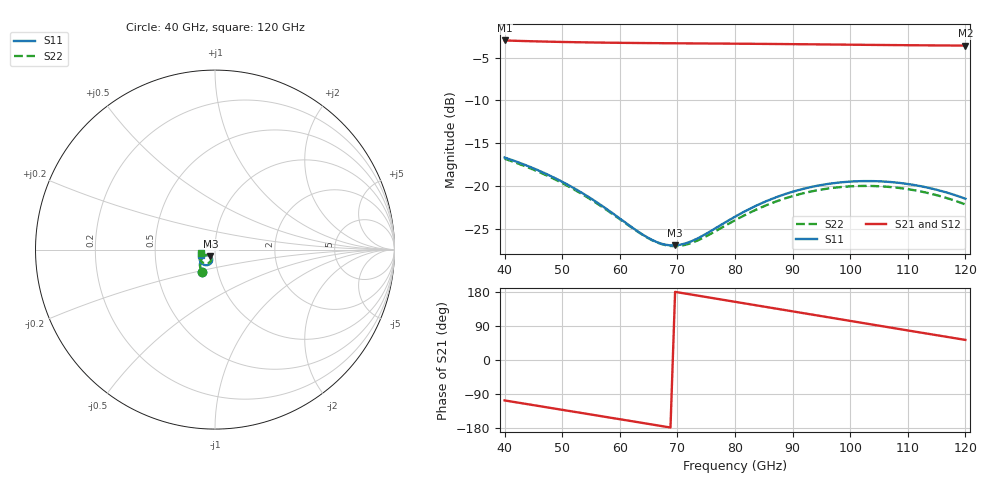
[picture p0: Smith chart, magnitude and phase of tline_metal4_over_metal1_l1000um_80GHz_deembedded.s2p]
! Created with skrf 2.0.1 (http://scikit-rf.org).
# GHz S DB R 50.0
!freq dBS11 angS11 dBS21 angS21 dBS12 angS12 dBS22 angS22
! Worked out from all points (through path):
!   101 points, 40 GHz to 120 GHz, reference 50 ohm
!   highest |S21| = -3.00 dB at 40 GHz (marker M1); lowest = -3.6 dB at 120 GHz (marker M2)
!   group delay of S21, straight-line fit = 6.97 ps
!   lowest |S11| = -27.0 dB at 69.6 GHz (marker M3), VSWR 1.09, Z = 47.4 - j3.53 ohm
!   |S11| at or under -10 dB: start of sweep to end of sweep
!   |S22| runs from -27.1 to -16.8 dB; largest |S21 - S12| = 3.7e-16
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40  -16.69 -119.4  -3.00 -106.6  -3.00 -106.6  -16.83 -120.2
46.4  -18.36 -133.7  -3.12 -122.6  -3.12 -122.6  -18.51 -134.7
53.6  -20.89 -145.4  -3.22 -140.4  -3.22 -140.4  -21.03 -146.8
57.6  -22.66 -148.3  -3.26 -150.3  -3.26 -150.3  -22.77 -150.1
60.8  -24.21 -147.5  -3.28 -158.3  -3.28 -158.3  -24.28 -149.7
64.8  -26.04 -140.5  -3.31 -168.2  -3.31 -168.2  -26.07 -143.6
67.2  -26.76 -133.0  -3.32 -174.2  -3.32 -174.2  -26.80 -136.8
69.6  -26.96 -124.1  -3.33 179.8  -3.33 179.8  -27.06 -128.7
71.2  -26.77 -118.4  -3.34 175.8  -3.34 175.8  -26.93 -123.3
73.6  -26.12 -111.4  -3.35 169.7  -3.35 169.7  -26.36 -116.7
76.8  -24.88 -106.0  -3.36 161.7  -3.36 161.7  -25.23 -111.4
80  -23.61 -104.5  -3.38 153.6  -3.38 153.6  -24.03 -109.9
83.2  -22.48 -105.7  -3.39 145.5  -3.39 145.5  -22.93 -111.1
87.2  -21.32 -109.6  -3.42 135.4  -3.42 135.4  -21.81 -115.0
93.6  -20.08 -118.7  -3.45 119.3  -3.45 119.3  -20.61 -124.3
97.6  -19.65 -125.3  -3.48 109.2  -3.48 109.2  -20.19 -131.1
100.8  -19.48 -130.8  -3.50 101.2  -3.50 101.2  -20.04 -136.7
104  -19.45 -136.2  -3.52 93.1  -3.52 93.1  -20.02 -142.3
107.2  -19.57 -141.6  -3.54 85.1  -3.54 85.1  -20.15 -147.9
110.4  -19.83 -146.8  -3.56 77.0  -3.56 77.0  -20.43 -153.2
113.6  -20.23 -151.6  -3.57 69.0  -3.57 69.0  -20.86 -158.3
120  -21.51 -159.5  -3.60 53.0  -3.60 53.0  -22.18 -166.5
